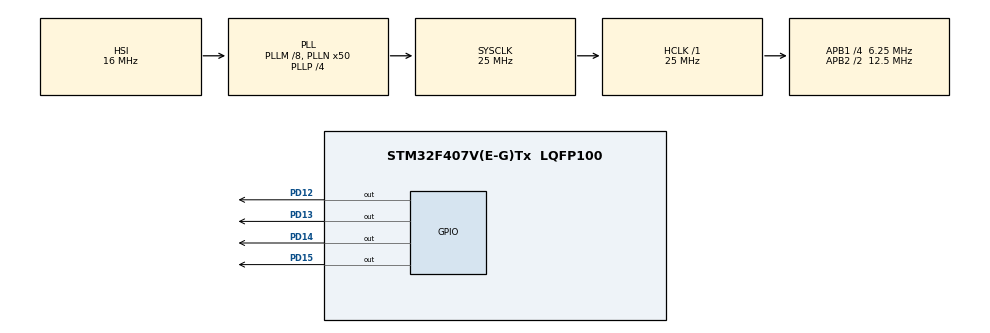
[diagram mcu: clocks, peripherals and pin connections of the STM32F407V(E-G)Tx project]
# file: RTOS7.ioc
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FREERTOS.INCLUDE_vTaskDelayUntil=1
FREERTOS.Tasks01=defaultTask,-3,128,StartDefaultTask,Default,NULL,Dynamic,NULL,NULL
FREERTOS.configUSE_NEWLIB_REENTRANT=1
Mcu.Family=STM32F4
Mcu.Name=STM32F407V(E-G)Tx
Mcu.Package=LQFP100
NVIC.PriorityGroup=NVIC_PRIORITYGROUP_4
NVIC.TIM1_UP_TIM10_IRQn=true\:15\:0\:false\:false\:true\:false\:false\:true\:true
NVIC.TimeBase=TIM1_UP_TIM10_IRQn
NVIC.TimeBaseIP=TIM1
PD12.Signal=GPIO_Output
PD13.Signal=GPIO_Output
PD14.Signal=GPIO_Output
PD15.Signal=GPIO_Output
ProjectManager.HeapSize=0x200
ProjectManager.StackSize=0x400
ProjectManager.TargetToolchain=STM32CubeIDE
RCC.48MHZClocksFreq_Value=14285714.285714285
RCC.AHBFreq_Value=25000000
RCC.APB1CLKDivider=RCC_HCLK_DIV4
RCC.APB1Freq_Value=6250000
RCC.APB1TimFreq_Value=12500000
RCC.APB2CLKDivider=RCC_HCLK_DIV2
RCC.APB2Freq_Value=12500000
RCC.APB2TimFreq_Value=25000000
RCC.CortexFreq_Value=25000000
RCC.HCLKFreq_Value=25000000
RCC.HSE_VALUE=8000000
RCC.HSI_VALUE=16000000
RCC.LSE_VALUE=32768
RCC.PLLM=8
RCC.PLLN=50
RCC.PLLP=RCC_PLLP_DIV4
RCC.PLLQ=7
RCC.SYSCLKFreq_VALUE=25000000
RCC.SYSCLKSource=RCC_SYSCLKSOURCE_PLLCLK
RCC.VCOOutputFreq_Value=100000000
VP_FREERTOS_VS_CMSIS_V1.Mode=CMSIS_V1
VP_SYS_VS_tim1.Mode=TIM1
board=STM32F407G-DISC1

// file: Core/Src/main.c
/* USER CODE BEGIN Header */
/**
  ******************************************************************************
  * @file           : main.c
  * @brief          : Main program body
  ******************************************************************************
  * @attention
  *
  * Copyright (c) 2024 STMicroelectronics.
  * All rights reserved.
  *
  * This software is licensed under terms that can be found in the LICENSE file
  * in the root directory of this software component.
  * If no LICENSE file comes with this software, it is provided AS-IS.
  *
  ******************************************************************************
  */
/* USER CODE END Header */
#include "main.h"
#include "cmsis_os.h"

osThreadId defaultTaskHandle;

void SystemClock_Config(void);
static void MX_GPIO_Init(void);
void StartDefaultTask(void const * argument);

/* USER CODE BEGIN 0 */
void vPeriodicTask1(void *pvParam)
{
	uint16_t pin = (uint16_t)pvParam;
	portTickType xLastWakeupTime =  xTaskGetTickCount();
	while(1)
	{
		HAL_GPIO_TogglePin(GPIOD, pin);
		vTaskDelayUntil(&xLastWakeupTime ,1000 / portTICK_RATE_MS);
	}
	vTaskDelete(NULL);
}
void vPeriodicTask2(void *pvParam)
{
	uint16_t pin = (uint16_t)pvParam;
	portTickType xLastWakeupTime =  xTaskGetTickCount();
	while(1)
	{
		HAL_GPIO_TogglePin(GPIOD, pin);
		vTaskDelayUntil(&xLastWakeupTime ,1500 / portTICK_RATE_MS);
	}
	vTaskDelete(NULL);
}
void vPeriodicTask3(void *pvParam)
{
	uint16_t pin = (uint16_t)pvParam;
	portTickType xLastWakeupTime =  xTaskGetTickCount();
	while(1)
	{
		HAL_GPIO_TogglePin(GPIOD, pin);
		vTaskDelayUntil(&xLastWakeupTime ,2000 / portTICK_RATE_MS);
	}
	vTaskDelete(NULL);
}
void vPeriodicTask4(void *pvParam)
{
	uint16_t pin = (uint16_t)pvParam;
	portTickType xLastWakeupTime =  xTaskGetTickCount();
	while(1)
	{
		HAL_GPIO_TogglePin(GPIOD, pin);
		vTaskDelayUntil(&xLastWakeupTime ,2500 / portTICK_RATE_MS);
	}
	vTaskDelete(NULL);
}
/* USER CODE END 0 */

int main(void)
{

  /* USER CODE BEGIN 1 */
	BaseType_t xRet;
  /* USER CODE END 1 */

  /* MCU Configuration--------------------------------------------------------*/

  /* Reset of all peripherals, Initializes the Flash interface and the Systick. */
  HAL_Init();

  /* Configure the system clock */
  SystemClock_Config();

  /* Initialize all configured peripherals */
  MX_GPIO_Init();

  /* Create the thread(s) */
  /* definition and creation of defaultTask */
  osThreadDef(defaultTask, StartDefaultTask, osPriorityIdle, 0, 128);
  defaultTaskHandle = osThreadCreate(osThread(defaultTask), NULL);

  /* USER CODE BEGIN RTOS_THREADS */
  /* add threads, ... */
  xRet = xTaskCreate(vPeriodicTask1, "Task1", configMINIMAL_STACK_SIZE , (void *)GPIO_PIN_12, 4, NULL);
      if(xRet != pdTRUE)
    	  Error_Handler();
  xRet = xTaskCreate(vPeriodicTask2, "Task2", configMINIMAL_STACK_SIZE , (void *)GPIO_PIN_13, 4, NULL);
      if(xRet != pdTRUE)
          Error_Handler();
  xRet = xTaskCreate(vPeriodicTask3, "Task3", configMINIMAL_STACK_SIZE , (void *)GPIO_PIN_14, 4, NULL);
      if(xRet != pdTRUE)
          Error_Handler();
  xRet = xTaskCreate(vPeriodicTask4, "Task4", configMINIMAL_STACK_SIZE , (void *)GPIO_PIN_15, 4, NULL);
      if(xRet != pdTRUE)
          Error_Handler();
  /* USER CODE END RTOS_THREADS */

  /* Start scheduler */
  osKernelStart();

  /* We should never get here as control is now taken by the scheduler */

  /* Infinite loop */
  while (1)
  {

  }
}

void SystemClock_Config(void)
{
  RCC_OscInitTypeDef RCC_OscInitStruct = {0};
  RCC_ClkInitTypeDef RCC_ClkInitStruct = {0};

  /** Configure the main internal regulator output voltage
  */
  __HAL_RCC_PWR_CLK_ENABLE();
  __HAL_PWR_VOLTAGESCALING_CONFIG(PWR_REGULATOR_VOLTAGE_SCALE1);

  /** Initializes the RCC Oscillators according to the specified parameters
  * in the RCC_OscInitTypeDef structure.
  */
  RCC_OscInitStruct.OscillatorType = RCC_OSCILLATORTYPE_HSI;
  RCC_OscInitStruct.HSIState = RCC_HSI_ON;
  RCC_OscInitStruct.HSICalibrationValue = RCC_HSICALIBRATION_DEFAULT;
  RCC_OscInitStruct.PLL.PLLState = RCC_PLL_ON;
  RCC_OscInitStruct.PLL.PLLSource = RCC_PLLSOURCE_HSI;
  RCC_OscInitStruct.PLL.PLLM = 8;
  RCC_OscInitStruct.PLL.PLLN = 50;
  RCC_OscInitStruct.PLL.PLLP = RCC_PLLP_DIV4;
  RCC_OscInitStruct.PLL.PLLQ = 7;
  if (HAL_RCC_OscConfig(&RCC_OscInitStruct) != HAL_OK)
  {
    Error_Handler();
  }

  /** Initializes the CPU, AHB and APB buses clocks
  */
  RCC_ClkInitStruct.ClockType = RCC_CLOCKTYPE_HCLK|RCC_CLOCKTYPE_SYSCLK
                              |RCC_CLOCKTYPE_PCLK1|RCC_CLOCKTYPE_PCLK2;
  RCC_ClkInitStruct.SYSCLKSource = RCC_SYSCLKSOURCE_PLLCLK;
  RCC_ClkInitStruct.AHBCLKDivider = RCC_SYSCLK_DIV1;
  RCC_ClkInitStruct.APB1CLKDivider = RCC_HCLK_DIV4;
  RCC_ClkInitStruct.APB2CLKDivider = RCC_HCLK_DIV2;

  if (HAL_RCC_ClockConfig(&RCC_ClkInitStruct, FLASH_LATENCY_0) != HAL_OK)
  {
    Error_Handler();
  }
}

static void MX_GPIO_Init(void)
{
  GPIO_InitTypeDef GPIO_InitStruct = {0};

  /* GPIO Ports Clock Enable */
  __HAL_RCC_GPIOD_CLK_ENABLE();

  /*Configure GPIO pin Output Level */
  HAL_GPIO_WritePin(GPIOD, GPIO_PIN_12|GPIO_PIN_13|GPIO_PIN_14|GPIO_PIN_15, GPIO_PIN_RESET);

  /*Configure GPIO pins : PD12 PD13 PD14 PD15 */
  GPIO_InitStruct.Pin = GPIO_PIN_12|GPIO_PIN_13|GPIO_PIN_14|GPIO_PIN_15;
  GPIO_InitStruct.Mode = GPIO_MODE_OUTPUT_PP;
  GPIO_InitStruct.Pull = GPIO_NOPULL;
  GPIO_InitStruct.Speed = GPIO_SPEED_FREQ_LOW;
  HAL_GPIO_Init(GPIOD, &GPIO_InitStruct);

}

void StartDefaultTask(void const * argument)
{
  for(;;)
  {
    osDelay(1);
  }
}

void HAL_TIM_PeriodElapsedCallback(TIM_HandleTypeDef *htim)
{
  if (htim->Instance == TIM1) {
    HAL_IncTick();
  }
}

void Error_Handler(void)
{
  __disable_irq();
  while (1)
  {
  }
}
